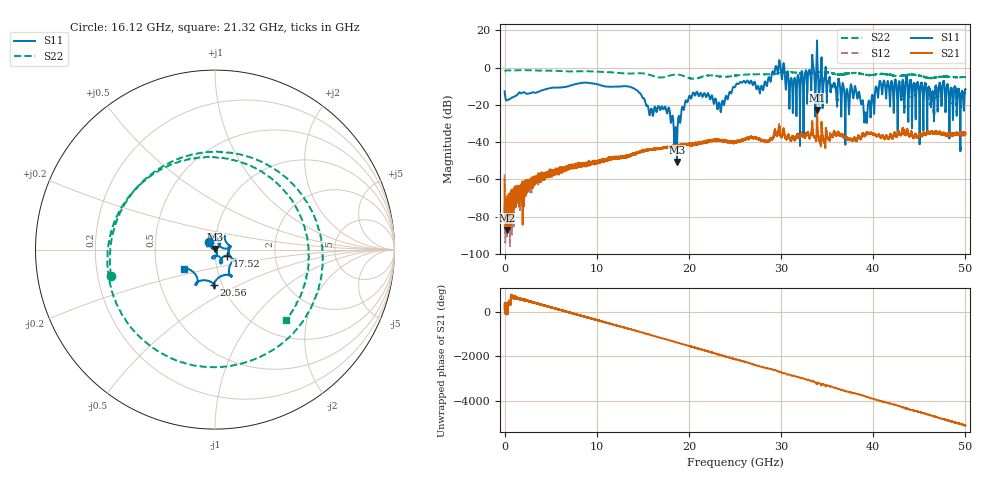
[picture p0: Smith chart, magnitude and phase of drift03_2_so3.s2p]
!Created with skrf (http://scikit-rf.org).
# Hz S RI R 50.0
!freq ReS11 ImS11 ReS21 ImS21 ReS12 ImS12 ReS22 ImS22
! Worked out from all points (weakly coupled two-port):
!   10001 points, 300 kHz to 50 GHz, reference 50 ohm
!   highest |S21| = -22.68 dB at 33.9 GHz (marker M1); lowest = -87.2 dB at 230.3 MHz (marker M2)
!   lowest |S11| = -50.6 dB at 18.7 GHz (marker M3), VSWR 1.01, Z = 49.9 + j0.281 ohm
!   |S11| at or under -10 dB: start of sweep to 6.96 GHz; 13.31 GHz to 25.05 GHz (11.74 GHz wide, 61.2 % of centre); 38.04 GHz to 40.62 GHz (2.576 GHz wide, 6.55 % of centre) (the widest 3 of 56)
!   |S22| runs from -5.9 to -1.3 dB; largest |S21 - S12| = 0.007
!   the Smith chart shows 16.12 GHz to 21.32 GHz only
!   S11 on the Smith chart (normalised r, x): 16.12 GHz: 0.93, +0.08; 17.52 GHz: 1.15, -0.08; 20.56 GHz: 0.92, -0.37; 21.32 GHz: 0.69, -0.15
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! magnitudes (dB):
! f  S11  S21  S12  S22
! 300 kHz  -12.7  -59.9  -57.1  -2.1
! 230.3 MHz  -17.6  -87.2  -72.5  -1.4
! 8.335 GHz  -8.2  -51.4  -51.8  -1.9
! 13.81 GHz  -10.7  -46.7  -46.5  -3.1
! 16.12 GHz  -25.7  -43.9  -43.9  -4.5
! 16.67 GHz  -20.6  -43.7  -43.6  -5.2
! 17.52 GHz  -22.3  -42.6  -42.5  -4.8
! 18.7 GHz  -50.6  -41.6  -41.6  -3.7
! 20.56 GHz  -14.2  -41.0  -41.5  -5.9
! 21.32 GHz  -13.9  -39.9  -40.2  -5.1
! 23.3 GHz  -18.8  -38.9  -39.3  -4.7
! 25 GHz  -10.4  -39.7  -39.8  -4.2
! 27.87 GHz  -9.7  -38.9  -39.2  -3.5
! 29.68 GHz  -2.9  -34.8  -34.7  -3.1
! 31.86 GHz  -4.1  -36.8  -37.3  -2.9
! 33.34 GHz  -0.1  -32.4  -33.1  -2.9
! 33.9 GHz  14.2  -22.7  -23.5  -2.5
! 38.21 GHz  -14.8  -39.0  -38.9  -2.9
! 39.17 GHz  -24.8  -35.7  -35.7  -3.8
! 40.53 GHz  -16.0  -36.3  -36.1  -3.5
! 41.67 GHz  -9.2  -38.2  -38.1  -3.7
! 50 GHz  -11.6  -35.0  -35.7  -5.0
